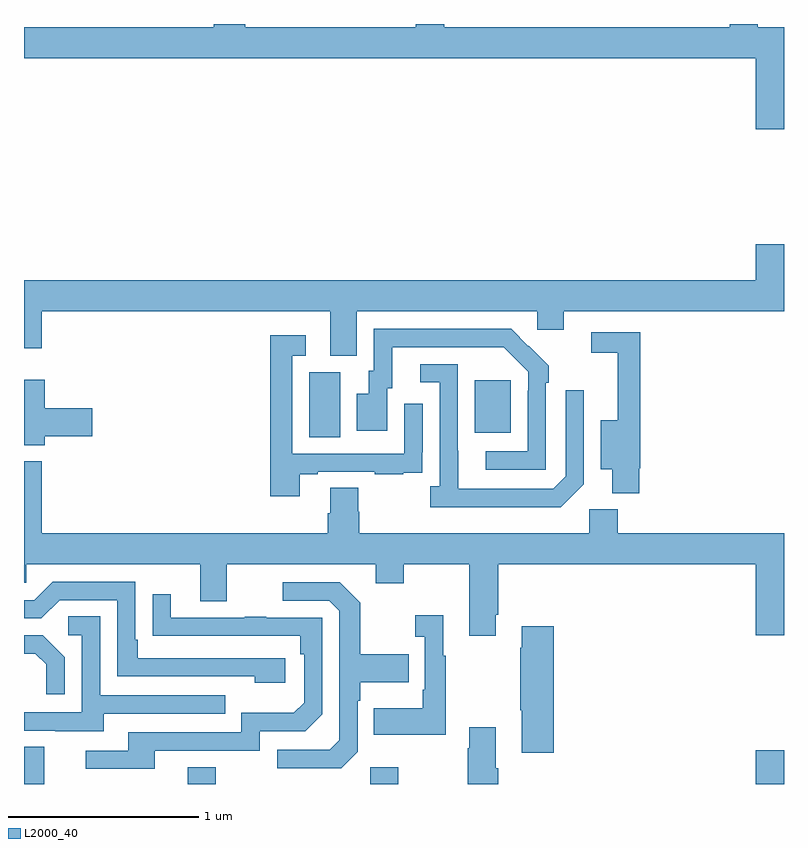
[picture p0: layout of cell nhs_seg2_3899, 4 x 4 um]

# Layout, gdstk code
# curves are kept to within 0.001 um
import gdstk
lib = gdstk.Library(unit=1e-6, precision=1e-09)
def R(c, l, rs):  # rectangles x0, y0, x1, y1
    for r in rs: c.add(gdstk.rectangle(r[:2], r[2:], *l))
def P(c, l, *ps):  # polygons
    for p in ps: c.add(gdstk.Polygon(p, *l))
L2000_40 = (2000, 40)

nhs_seg2_3899 = lib.new_cell('nhs_seg2_3899')
R(nhs_seg2_3899, L2000_40, [(317,659.8,317.107,659.996), (317.861,659.8,318.009,659.887), (318.822,659.8,318.969,659.887), (320.852,659.8,321,659.977), (318.5,661.624,318.664,661.968), (319.373,661.649,319.561,661.924)])
P(nhs_seg2_3899, L2000_40, [(321,663.784),(320.862,663.784),(320.862,663.8),(320.714,663.8),(320.714,663.784),(319.212,663.784),(319.212,663.8),(319.061,663.8),(319.061,663.784),(318.164,663.784),(318.164,663.8),(317.999,663.8),(317.999,663.784),(317,663.784),(317,663.62),(320.852,663.62),(320.852,663.246),(321,663.246)],
  [(318.751,662.288),(319.701,662.288),(319.701,662.19),(319.84,662.19),(319.84,662.288),(321,662.288),(321,662.641),(320.852,662.641),(320.852,662.452),(317,662.452),(317,662.094),(317.093,662.094),(317.093,662.288),(318.611,662.288),(318.611,662.053),(318.751,662.053)],
  [(319.746,661.913),(319.761,661.913),(319.761,662.001),(319.564,662.196),(318.84,662.196),(318.84,661.974),(318.815,661.974),(318.815,661.855),(318.752,661.855),(318.752,661.659),(318.913,661.659),(318.913,661.884),(318.937,661.884),(318.937,662.1),(319.525,662.1),(319.653,661.971),(319.653,661.871),(319.65,661.871),(319.65,661.551),(319.431,661.551),(319.431,661.455),(319.746,661.455)],
  [(320.237,661.461),(320.243,661.461),(320.243,662.178),(319.986,662.178),(319.986,662.07),(320.126,662.07),(320.126,661.714),(320.036,661.714),(320.036,661.457),(320.096,661.457),(320.096,661.331),(320.237,661.331)],
  [(318.451,661.431),(318.547,661.431),(318.547,661.443),(318.847,661.443),(318.847,661.431),(318.995,661.431),(318.995,661.437),(319.097,661.437),(319.097,661.546),(319.098,661.546),(319.098,661.801),(319.002,661.801),(319.002,661.539),(318.411,661.539),(318.411,662.055),(318.484,662.055),(318.484,662.161),(318.295,662.161),(318.295,661.314),(318.451,661.314)],
  [(319.947,661.377),(319.947,661.873),(319.851,661.873),(319.851,661.419),(319.785,661.353),(319.285,661.353),(319.284,662.01),(319.086,662.01),(319.086,661.914),(319.188,661.914),(319.188,661.366),(319.137,661.366),(319.137,661.256),(319.826,661.256)],
  [(317.11,661.631),(317.359,661.631),(317.359,661.778),(317.11,661.778),(317.11,661.927),(317,661.927),(317,661.583),(317.11,661.583)],
  [(319.483,660.691),(319.496,660.691),(319.496,660.956),(320.852,660.956),(320.852,660.582),(321,660.582),(321,661.12),(320.126,661.12),(320.126,661.246),(319.974,661.246),(319.974,661.12),(318.764,661.12),(318.764,661.233),(318.759,661.233),(318.759,661.358),(318.611,661.358),(318.611,661.226),(318.599,661.226),(318.599,661.12),(317.093,661.12),(317.093,661.498),(317,661.498),(317,660.858),(317.013,660.858),(317.013,660.956),(317.927,660.956),(317.927,660.762),(318.067,660.762),(318.067,660.956),(318.851,660.956),(318.851,660.857),(318.999,660.857),(318.999,660.956),(319.343,660.956),(319.343,660.579),(319.483,660.579)],
  [(318.376,660.462),(317.599,660.462),(317.599,660.559),(317.586,660.559),(317.586,660.864),(317.151,660.864),(317.055,660.768),(317,660.768),(317,660.672),(317.091,660.672),(317.187,660.768),(317.49,660.768),(317.49,660.366),(318.215,660.366),(318.215,660.332),(318.376,660.332)],
  [(318.756,659.97),(318.756,660.239),(318.769,660.239),(318.769,660.335),(319.025,660.335),(319.025,660.483),(318.769,660.483),(318.769,660.755),(318.663,660.861),(318.363,660.861),(318.363,660.765),(318.606,660.765),(318.66,660.711),(318.66,660.03),(318.609,659.979),(318.333,659.979),(318.333,659.883),(318.669,659.883)],
  [(317.689,659.976),(318.24,659.976),(318.24,660.078),(318.48,660.078),(318.57,660.168),(318.57,660.675),(318.275,660.675),(318.275,660.68),(318.163,660.68),(318.163,660.675),(317.773,660.675),(317.773,660.799),(317.677,660.799),(317.677,660.58),(318.454,660.579),(318.454,660.482),(318.474,660.482),(318.474,660.228),(318.421,660.175),(318.144,660.175),(318.144,660.072),(317.549,660.072),(317.549,659.976),(317.325,659.976),(317.325,659.88),(317.689,659.88)],
  [(319.219,660.475),(319.207,660.475),(319.207,660.688),(319.059,660.688),(319.059,660.575),(319.11,660.575),(319.11,660.295),(319.098,660.295),(319.098,660.199),(318.841,660.199),(318.841,660.059),(319.219,660.059)],
  [(317.419,660.171),(318.059,660.171),(318.059,660.267),(317.4,660.267),(317.4,660.683),(317.232,660.683),(317.232,660.582),(317.304,660.582),(317.304,660.177),(317,660.177),(317,660.081),(317.165,660.081),(317.165,660.077),(317.419,660.077)],
  [(319.787,660.631),(319.619,660.631),(319.619,660.518),(319.612,660.518),(319.612,660.187),(319.619,660.187),(319.619,659.964),(319.787,659.964)],
  [(317.214,660.466),(317.098,660.582),(317,660.582),(317,660.486),(317.06,660.486),(317.117,660.429),(317.117,660.273),(317.214,660.273)],
  [(319.496,659.884),(319.483,659.884),(319.483,660.1),(319.343,660.1),(319.343,659.987),(319.336,659.987),(319.336,659.8),(319.496,659.8)])

lib.write_gds('nhs_seg2_3899.gds')
